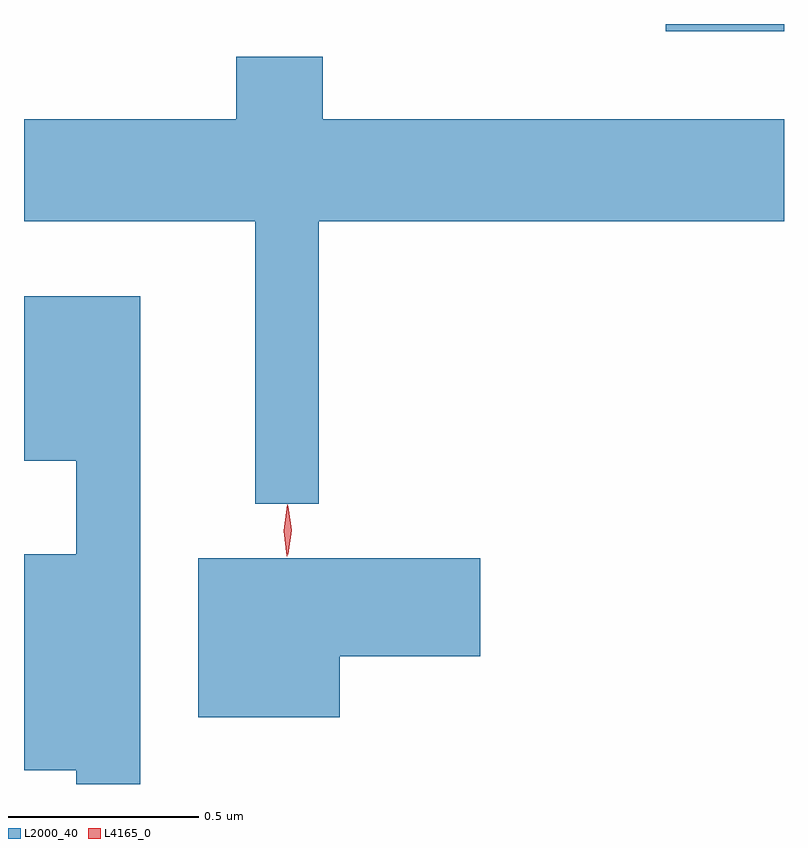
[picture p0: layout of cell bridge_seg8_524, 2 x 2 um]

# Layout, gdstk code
import gdstk
lib = gdstk.Library(unit=1e-6, precision=1e-09)
def R(c, l, rs):  # rectangles x0, y0, x1, y1
    for r in rs: c.add(gdstk.rectangle(r[:2], r[2:], *l))
def P(c, l, *ps):  # polygons
    for p in ps: c.add(gdstk.Polygon(p, *l))
L2000_40 = (2000, 40)
L4165_0 = (4165, 0)

bridge_seg8_524 = lib.new_cell('bridge_seg8_524')
R(bridge_seg8_524, L2000_40, [(259.272,1848.016,259.583,1848.035)])
P(bridge_seg8_524, L2000_40, [(258.359,1847.516),(259.583,1847.516),(259.583,1847.784),(258.369,1847.784),(258.369,1847.949),(258.141,1847.949),(258.141,1847.784),(257.583,1847.784),(257.583,1847.516),(258.191,1847.516),(258.191,1846.773),(258.359,1846.773)],
  [(257.889,1847.319),(257.583,1847.319),(257.583,1846.886),(257.721,1846.886),(257.721,1846.639),(257.583,1846.639),(257.583,1846.071),(257.721,1846.071),(257.721,1846.035),(257.889,1846.035)],
  [(258.414,1846.371),(258.784,1846.371),(258.784,1846.629),(258.041,1846.629),(258.041,1846.211),(258.414,1846.211)])
P(bridge_seg8_524, L4165_0, [(258.274,1846.634),(258.266,1846.702),(258.276,1846.77),(258.277,1846.77),(258.277,1846.77),(258.286,1846.702),(258.276,1846.634),(258.275,1846.634)],
  [(258.278,1846.64),(258.278,1846.64),(258.268,1846.703),(258.277,1846.766),(258.277,1846.767),(258.278,1846.766),(258.288,1846.703),(258.278,1846.64)])

lib.write_gds('bridge_seg8_524.gds')
